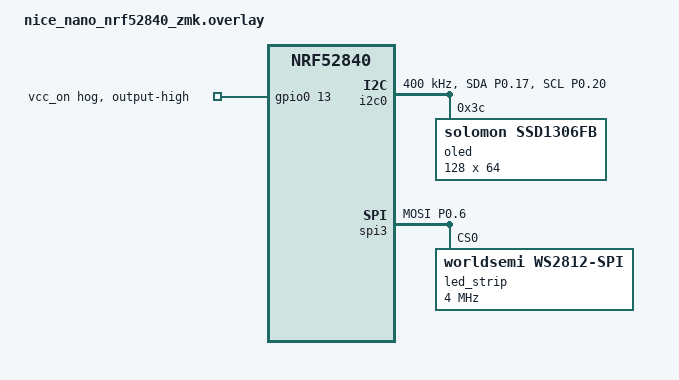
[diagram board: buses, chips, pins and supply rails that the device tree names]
/*
 * Per-key SK6812MINI-E chain: 33 per half, data on P0.06 (pad 1), driven as one strip. The chain
 * runs from the battery through the board's LED power switch (Q2/Q3), which P0.08 (pad 2) turns on.
 *
 * OLED: a 0.96 in. 128x64 SSD1306 per half on I2C, SDA P0.17 (pad 5), SCL P0.20 (pad 6), powered
 * from the nice!nano's switched 3.3 V (VCC, pad 16), which P0.13 turns on.
 */

#include <dt-bindings/led/led.h>

&pinctrl {
    spi3_default: spi3_default {
        group1 {
            psels = <NRF_PSEL(SPIM_MOSI, 0, 6)>;
        };
    };

    spi3_sleep: spi3_sleep {
        group1 {
            psels = <NRF_PSEL(SPIM_MOSI, 0, 6)>;
            low-power-enable;
        };
    };

    /* the module has its own pull-ups; the internal ones keep the bus up on a module without them */
    i2c0_default: i2c0_default {
        group1 {
            psels = <NRF_PSEL(TWIM_SDA, 0, 17)>, <NRF_PSEL(TWIM_SCL, 0, 20)>;
            bias-pull-up;
        };
    };

    i2c0_sleep: i2c0_sleep {
        group1 {
            psels = <NRF_PSEL(TWIM_SDA, 0, 17)>, <NRF_PSEL(TWIM_SCL, 0, 20)>;
            low-power-enable;
        };
    };
};

&i2c0 {
    compatible = "nordic,nrf-twim";
    status = "okay";
    clock-frequency = <I2C_BITRATE_FAST>;

    /* The SSD1306 takes no repeated start inside a write, so TWIM merges the control byte and the
     * data into one transfer. The default 16-byte buffer fails every frame write with -ENOSPC;
     * this holds the control byte plus a full 128 x 64 / 8 = 1024-byte frame. */
    zephyr,concat-buf-size = <1025>;

    pinctrl-0 = <&i2c0_default>;
    pinctrl-1 = <&i2c0_sleep>;
    pinctrl-names = "default", "sleep";

    /* The module is mounted upside down (header along its bottom edge). With segment-remap and
     * com-invdir it would draw for a module the usual way up. */
    oled: ssd1306@3c {
        compatible = "solomon,ssd1306fb";
        reg = <0x3c>;
        width = <128>;
        height = <64>;
        segment-offset = <0>;
        page-offset = <0>;
        display-offset = <0>;
        multiplex-ratio = <63>;
        prechargep = <0x22>;
    };
};

&spi3 {
    compatible = "nordic,nrf-spim";
    status = "okay";

    pinctrl-0 = <&spi3_default>;
    pinctrl-1 = <&spi3_sleep>;
    pinctrl-names = "default", "sleep";

    led_strip: ws2812@0 {
        compatible = "worldsemi,ws2812-spi";

        /* SPI */
        reg = <0>; /* ignored, but necessary for SPI bindings */
        spi-max-frequency = <4000000>;

        /* SK6812MINI-E */
        chain-length = <33>;
        spi-one-frame = <0x70>;
        spi-zero-frame = <0x40>;

        color-mapping = <LED_COLOR_ID_GREEN LED_COLOR_ID_RED LED_COLOR_ID_BLUE>;
    };
};

/ {
    chosen {
        zmk,underglow = &led_strip;
        zephyr,display = &oled;
    };
};

/* ext-power drives only the LED power switch on P0.08, so the LEDs can go off on battery */
&{/EXT_POWER} {
    control-gpios = <&gpio0 8 GPIO_ACTIVE_HIGH>;
};

/* P0.13 keeps the nice!nano's 3.3 V output, and so the OLED, powered; ZMK blanks the OLED when idle */
&gpio0 {
    vcc_on {
        gpio-hog;
        gpios = <13 GPIO_ACTIVE_HIGH>;
        output-high;
    };
};
